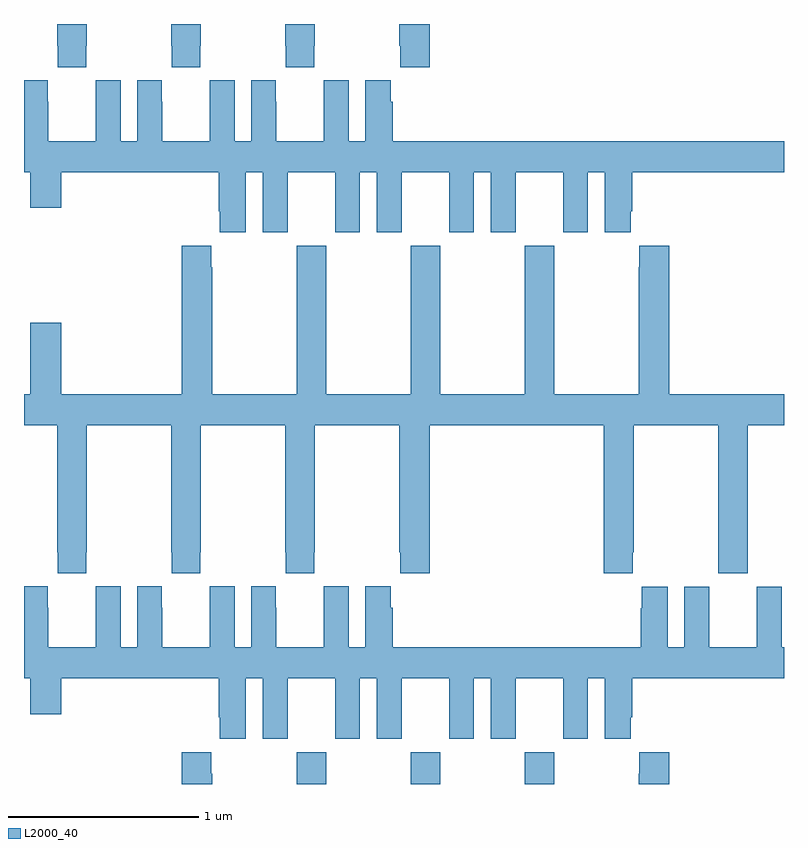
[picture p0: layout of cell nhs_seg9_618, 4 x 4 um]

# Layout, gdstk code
import gdstk
lib = gdstk.Library(unit=1e-6, precision=1e-09)
def R(c, l, rs):  # rectangles x0, y0, x1, y1
    for r in rs: c.add(gdstk.rectangle(r[:2], r[2:], *l))
def A(c, l, x, y, w, h, nx, ny, dx, dy):  # array of equal rectangles
    R(c, l, [(x+i*dx, y+j*dy, x+i*dx+w, y+j*dy+h) for i in range(nx) for j in range(ny)])
def P(c, l, *ps):  # polygons
    for p in ps: c.add(gdstk.Polygon(p, *l))
L2000_40 = (2000, 40)

nhs_seg9_618 = lib.new_cell('nhs_seg9_618')
A(nhs_seg9_618, L2000_40, 142.435, 1226.5, 0.155, 0.168, 3, 1, 0.6, 0)
P(nhs_seg9_618, L2000_40, [(143.135,1230.5),(142.975,1230.5),(142.975,1230.385),(142.981,1230.385),(142.981,1230.273),(143.135,1230.273)],
  [(142.527,1230.385),(142.53,1230.385),(142.53,1230.5),(142.375,1230.5),(142.375,1230.385),(142.377,1230.385),(142.377,1230.273),(142.527,1230.273)],
  [(141.927,1230.385),(141.93,1230.385),(141.93,1230.5),(141.775,1230.5),(141.775,1230.385),(141.777,1230.385),(141.777,1230.273),(141.927,1230.273)],
  [(141.327,1230.385),(141.33,1230.385),(141.33,1230.5),(141.175,1230.5),(141.175,1230.385),(141.177,1230.385),(141.177,1230.273),(141.327,1230.273)],
  [(142.168,1229.72),(142.256,1229.72),(142.256,1229.403),(142.387,1229.403),(142.387,1229.72),(142.637,1229.72),(142.637,1229.403),(142.768,1229.403),(142.768,1229.72),(142.856,1229.72),(142.856,1229.403),(142.987,1229.403),(142.987,1229.72),(143.237,1229.72),(143.237,1229.403),(143.368,1229.403),(143.368,1229.72),(143.456,1229.72),(143.456,1229.403),(143.587,1229.403),(143.587,1229.72),(143.837,1229.72),(143.837,1229.403),(143.968,1229.403),(143.968,1229.72),(144.056,1229.72),(144.056,1229.403),(144.193,1229.403),(144.193,1229.515),(144.2,1229.515),(144.2,1229.72),(145,1229.72),(145,1229.884),(142.94,1229.884),(142.94,1230.092),(142.93,1230.092),(142.93,1230.205),(142.796,1230.205),(142.796,1229.884),(142.708,1229.884),(142.708,1230.205),(142.578,1230.205),(142.578,1230.092),(142.577,1230.092),(142.577,1229.884),(142.327,1229.884),(142.327,1230.092),(142.326,1230.092),(142.326,1230.205),(142.196,1230.205),(142.196,1229.884),(142.108,1229.884),(142.108,1230.205),(141.978,1230.205),(141.978,1230.092),(141.977,1230.092),(141.977,1229.884),(141.727,1229.884),(141.727,1230.092),(141.726,1230.092),(141.726,1230.205),(141.596,1230.205),(141.596,1229.884),(141.508,1229.884),(141.508,1230.205),(141.378,1230.205),(141.378,1230.092),(141.377,1230.092),(141.377,1229.884),(141.127,1229.884),(141.127,1230.092),(141.126,1230.092),(141.126,1230.205),(141,1230.205),(141,1229.72),(141.032,1229.72),(141.032,1229.532),(141.196,1229.532),(141.196,1229.72),(142.025,1229.72),(142.025,1229.515),(142.031,1229.515),(142.031,1229.403),(142.168,1229.403)],
  [(141.327,1227.721),(141.33,1227.721),(141.33,1228.388),(141.775,1228.388),(141.775,1227.721),(141.777,1227.721),(141.777,1227.609),(141.927,1227.609),(141.927,1227.721),(141.93,1227.721),(141.93,1228.388),(142.375,1228.388),(142.375,1227.721),(142.377,1227.721),(142.377,1227.609),(142.527,1227.609),(142.527,1227.721),(142.53,1227.721),(142.53,1228.388),(142.975,1228.388),(142.975,1227.721),(142.981,1227.721),(142.981,1227.609),(143.135,1227.609),(143.135,1228.388),(144.05,1228.388),(144.05,1227.609),(144.205,1227.609),(144.205,1227.721),(144.21,1227.721),(144.21,1228.388),(144.655,1228.388),(144.655,1227.609),(144.81,1227.609),(144.81,1228.388),(145,1228.388),(145,1228.552),(144.395,1228.552),(144.395,1229.332),(144.239,1229.332),(144.239,1229.219),(144.235,1229.219),(144.235,1228.552),(143.79,1228.552),(143.79,1229.332),(143.635,1229.332),(143.635,1228.552),(143.19,1228.552),(143.19,1229.332),(143.035,1229.332),(143.035,1228.552),(142.59,1228.552),(142.59,1229.332),(142.435,1229.332),(142.435,1228.552),(141.99,1228.552),(141.99,1229.219),(141.985,1229.219),(141.985,1229.332),(141.83,1229.332),(141.83,1228.552),(141.196,1228.552),(141.196,1228.927),(141.032,1228.927),(141.032,1228.552),(141,1228.552),(141,1228.388),(141.175,1228.388),(141.175,1227.721),(141.177,1227.721),(141.177,1227.609),(141.327,1227.609)],
  [(142.168,1227.056),(142.256,1227.056),(142.256,1226.739),(142.387,1226.739),(142.387,1227.056),(142.637,1227.056),(142.637,1226.739),(142.768,1226.739),(142.768,1227.056),(142.856,1227.056),(142.856,1226.739),(142.987,1226.739),(142.987,1227.056),(143.237,1227.056),(143.237,1226.739),(143.368,1226.739),(143.368,1227.056),(143.456,1227.056),(143.456,1226.739),(143.587,1226.739),(143.587,1227.056),(143.837,1227.056),(143.837,1226.739),(143.968,1226.739),(143.968,1227.056),(144.056,1227.056),(144.056,1226.739),(144.193,1226.739),(144.193,1226.851),(144.2,1226.851),(144.2,1227.056),(145,1227.056),(145,1227.22),(144.988,1227.22),(144.988,1227.538),(144.857,1227.538),(144.857,1227.22),(144.607,1227.22),(144.607,1227.538),(144.476,1227.538),(144.476,1227.22),(144.388,1227.22),(144.388,1227.538),(144.251,1227.538),(144.251,1227.425),(144.245,1227.425),(144.245,1227.22),(142.94,1227.22),(142.94,1227.428),(142.93,1227.428),(142.93,1227.541),(142.796,1227.541),(142.796,1227.22),(142.708,1227.22),(142.708,1227.541),(142.578,1227.541),(142.578,1227.428),(142.577,1227.428),(142.577,1227.22),(142.327,1227.22),(142.327,1227.428),(142.326,1227.428),(142.326,1227.541),(142.196,1227.541),(142.196,1227.22),(142.108,1227.22),(142.108,1227.541),(141.978,1227.541),(141.978,1227.428),(141.977,1227.428),(141.977,1227.22),(141.727,1227.22),(141.727,1227.428),(141.726,1227.428),(141.726,1227.541),(141.596,1227.541),(141.596,1227.22),(141.508,1227.22),(141.508,1227.541),(141.378,1227.541),(141.378,1227.428),(141.377,1227.428),(141.377,1227.22),(141.127,1227.22),(141.127,1227.428),(141.126,1227.428),(141.126,1227.541),(141,1227.541),(141,1227.056),(141.032,1227.056),(141.032,1226.868),(141.196,1226.868),(141.196,1227.056),(142.025,1227.056),(142.025,1226.851),(142.031,1226.851),(142.031,1226.739),(142.168,1226.739)],
  [(141.99,1226.555),(141.985,1226.555),(141.985,1226.668),(141.83,1226.668),(141.83,1226.5),(141.99,1226.5)],
  [(144.395,1226.668),(144.239,1226.668),(144.239,1226.555),(144.235,1226.555),(144.235,1226.5),(144.395,1226.5)])

lib.write_gds('nhs_seg9_618.gds')
